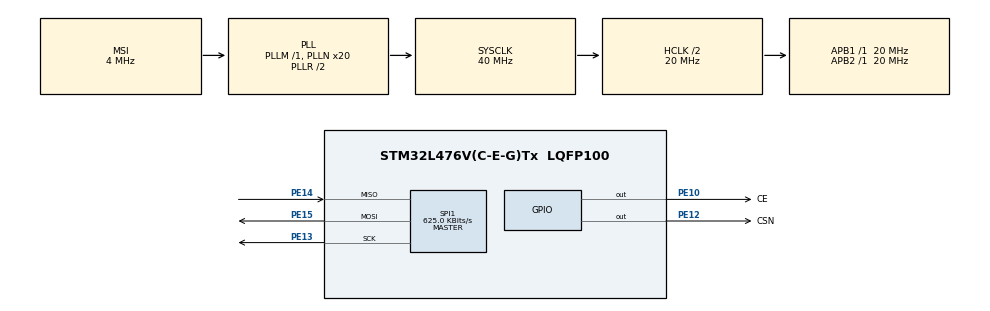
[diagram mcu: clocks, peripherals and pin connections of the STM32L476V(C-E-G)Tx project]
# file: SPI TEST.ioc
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Mcu.Family=STM32L4
Mcu.Name=STM32L476V(C-E-G)Tx
Mcu.Package=LQFP100
NVIC.PriorityGroup=NVIC_PRIORITYGROUP_4
PE10.GPIO_Label=CE
PE10.PinState=GPIO_PIN_SET
PE10.Signal=GPIO_Output
PE12.GPIO_Label=CSN
PE12.Signal=GPIO_Output
PE13.Mode=Full_Duplex_Master
PE13.Signal=SPI1_SCK
PE14.Mode=Full_Duplex_Master
PE14.Signal=SPI1_MISO
PE15.Mode=Full_Duplex_Master
PE15.Signal=SPI1_MOSI
ProjectManager.HeapSize=0x200
ProjectManager.StackSize=0x400
ProjectManager.TargetToolchain=STM32CubeIDE
RCC.ADCFreq_Value=48000000
RCC.AHBCLKDivider=RCC_SYSCLK_DIV2
RCC.AHBFreq_Value=20000000
RCC.APB1Freq_Value=20000000
RCC.APB1TimFreq_Value=20000000
RCC.APB2Freq_Value=20000000
RCC.APB2TimFreq_Value=20000000
RCC.CortexFreq_Value=20000000
RCC.HCLKFreq_Value=20000000
RCC.HSE_VALUE=8000000
RCC.HSI_VALUE=16000000
RCC.LSE_VALUE=32768
RCC.MSI_VALUE=4000000
RCC.PLLN=20
RCC.PLLSAI1N=24
RCC.PREFETCH_ENABLE=1
RCC.SYSCLKFreq_VALUE=40000000
RCC.SYSCLKSource=RCC_SYSCLKSOURCE_PLLCLK
RCC.USBFreq_Value=48000000
RCC.VCOOutputFreq_Value=80000000
SPI1.BaudRatePrescaler=SPI_BAUDRATEPRESCALER_32
SPI1.CLKPolarity=SPI_POLARITY_LOW
SPI1.CalculateBaudRate=625.0 KBits/s
SPI1.DataSize=SPI_DATASIZE_8BIT
SPI1.Direction=SPI_DIRECTION_2LINES
SPI1.Mode=SPI_MODE_MASTER
SPI1.NSSPMode=SPI_NSS_PULSE_ENABLE
SPI1.VirtualType=VM_MASTER
board=STM32L476G-DISCO

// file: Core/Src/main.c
/* USER CODE BEGIN Header */
/**
  ******************************************************************************
  * @file           : main.c
  * @brief          : Main program body
  ******************************************************************************
  * @attention
  *
  * Copyright (c) 2025 STMicroelectronics.
  * All rights reserved.
  *
  * This software is licensed under terms that can be found in the LICENSE file
  * in the root directory of this software component.
  * If no LICENSE file comes with this software, it is provided AS-IS.
  *
  ******************************************************************************
  */
/* USER CODE END Header */
#include "main.h"
#include "nrf24.h"

SPI_HandleTypeDef hspi1;

void SystemClock_Config(void);
static void MX_GPIO_Init(void);
static void MX_SPI1_Init(void);
void nRF24_set_up(uint8_t width, uint8_t channel, uint8_t data_rate, uint8_t power_level, uint8_t CRC_mode, uint8_t delay, uint8_t attempts, uint8_t rx_pipe, uint8_t *addr, uint8_t AA_state, uint8_t payload_size);
void nRF24_start_sending(uint8_t *data, uint8_t length);

int main(void)
{

  /* MCU Configuration--------------------------------------------------------*/

  /* Reset of all peripherals, Initializes the Flash interface and the Systick. */
  HAL_Init();

  /* USER CODE BEGIN Init */
 // uint8_t send_spi_reg_addr = {0x8f}; // 10 001111
 // uint8_t rec_spi_id_data= {0x00};
  /* USER CODE END Init */

  /* Configure the system clock */
  SystemClock_Config();

  /* Initialize all configured peripherals */
  MX_GPIO_Init();
  MX_SPI1_Init();
  uint8_t addr[5] = {'D', 'R', 'O', 'N', 'E'};
  nRF24_set_up(5, 78, nRF24_DR_2Mbps, nRF24_TXPWR_12dBm, nRF24_CRC_2byte, nRF24_ARD_250us, 5 , nRF24_PIPE0, addr,nRF24_AA_ON  , 16);

  /* USER CODE BEGIN 2 */
  HAL_GPIO_WritePin(GPIOD, GPIO_PIN_7, GPIO_PIN_RESET);
  //HAL_Delay(1);
  //HAL_SPI_Transmit(&hspi2, &send_spi_reg_addr, 1, 200);
  //HAL_SPI_Receive(&hspi2, &rec_spi_id_data, 1, 200);
  //HAL_GPIO_WritePin(GPIOD, GPIO_PIN_7, GPIO_PIN_SET);

  uint8_t send_SPI_data[12] =  {
		    0x00, // CONFIG
		    0x01, // EN_AA
		    0x02, // EN_RXADDR
		    0x03, // SETUP_AW
		    0x04, // SETUP_RETR
		    0x05, // RF_CH
		    0x06, // RF_SETUP
		    0x07, // STATUS
		    0x08, // OBSERVE_TX
		    0x09, // RPD
		    0x0A, // RX_ADDR_P0 (first byte)
		    0x10, // TX_ADDR (first byte)
			};
  uint8_t received_SPI_data[12]= {0x00,0x00,0x00,0x00,0x00,0x00,0x00,0x00,0x00,0x00,0x00,0x00};
//  uint8_t nrf24_read= {0x00};
  //nRF24_CSN_L();
 // HAL_Delay(1);
 // HAL_SPI_Transmit(&hspi1,send_SPI_data, 1, 200);
 // HAL_SPI_Receive(&hspi1,received_SPI_data, 1, 200);
  //nRF24_CSN_H();
  uint8_t test_data[]= "hi this is drone";
  nRF24_start_sending(test_data, 15);

    for(int x=0; x<12;x++){
        uint8_t tx_buf[2] = { send_SPI_data[x], 0xFF };  // Command and dummy byte
        uint8_t rx_buf[2] = { 0 };
        nRF24_CSN_L();
        HAL_Delay(1);
        HAL_SPI_TransmitReceive(&hspi1, tx_buf, rx_buf, 2, 200);
    	nRF24_CSN_H();
    	received_SPI_data[x] = rx_buf[1];
    }

  /* USER CODE END 2 */

  /* Infinite loop */
  while (1)
  {
	  nRF24_start_sending(test_data, 15);
	    for(int x=0; x<12;x++){
	        uint8_t tx_buf[2] = { send_SPI_data[x], 0xFF };  // Command and dummy byte
	        uint8_t rx_buf[2] = { 0 };
	        nRF24_CSN_L();
	        HAL_Delay(1);
	        HAL_SPI_TransmitReceive(&hspi1, tx_buf, rx_buf, 2, 200);
	    	nRF24_CSN_H();
	    	received_SPI_data[x] = rx_buf[1];
	    }

  }
}

void SystemClock_Config(void)
{
  RCC_OscInitTypeDef RCC_OscInitStruct = {0};
  RCC_ClkInitTypeDef RCC_ClkInitStruct = {0};

  /** Configure the main internal regulator output voltage
  */
  if (HAL_PWREx_ControlVoltageScaling(PWR_REGULATOR_VOLTAGE_SCALE1) != HAL_OK)
  {
    Error_Handler();
  }

  /** Initializes the RCC Oscillators according to the specified parameters
  * in the RCC_OscInitTypeDef structure.
  */
  RCC_OscInitStruct.OscillatorType = RCC_OSCILLATORTYPE_MSI;
  RCC_OscInitStruct.MSIState = RCC_MSI_ON;
  RCC_OscInitStruct.MSICalibrationValue = 0;
  RCC_OscInitStruct.MSIClockRange = RCC_MSIRANGE_6;
  RCC_OscInitStruct.PLL.PLLState = RCC_PLL_ON;
  RCC_OscInitStruct.PLL.PLLSource = RCC_PLLSOURCE_MSI;
  RCC_OscInitStruct.PLL.PLLM = 1;
  RCC_OscInitStruct.PLL.PLLN = 20;
  RCC_OscInitStruct.PLL.PLLP = RCC_PLLP_DIV7;
  RCC_OscInitStruct.PLL.PLLQ = RCC_PLLQ_DIV2;
  RCC_OscInitStruct.PLL.PLLR = RCC_PLLR_DIV2;
  if (HAL_RCC_OscConfig(&RCC_OscInitStruct) != HAL_OK)
  {
    Error_Handler();
  }

  /** Initializes the CPU, AHB and APB buses clocks
  */
  RCC_ClkInitStruct.ClockType = RCC_CLOCKTYPE_HCLK|RCC_CLOCKTYPE_SYSCLK
                              |RCC_CLOCKTYPE_PCLK1|RCC_CLOCKTYPE_PCLK2;
  RCC_ClkInitStruct.SYSCLKSource = RCC_SYSCLKSOURCE_PLLCLK;
  RCC_ClkInitStruct.AHBCLKDivider = RCC_SYSCLK_DIV2;
  RCC_ClkInitStruct.APB1CLKDivider = RCC_HCLK_DIV1;
  RCC_ClkInitStruct.APB2CLKDivider = RCC_HCLK_DIV1;

  if (HAL_RCC_ClockConfig(&RCC_ClkInitStruct, FLASH_LATENCY_1) != HAL_OK)
  {
    Error_Handler();
  }
}

static void MX_SPI1_Init(void)
{

  /* SPI1 parameter configuration*/
  hspi1.Instance = SPI1;
  hspi1.Init.Mode = SPI_MODE_MASTER;
  hspi1.Init.Direction = SPI_DIRECTION_2LINES;
  hspi1.Init.DataSize = SPI_DATASIZE_8BIT;
  hspi1.Init.CLKPolarity = SPI_POLARITY_LOW;
  hspi1.Init.CLKPhase = SPI_PHASE_1EDGE;
  hspi1.Init.NSS = SPI_NSS_SOFT;
  hspi1.Init.BaudRatePrescaler = SPI_BAUDRATEPRESCALER_32;
  hspi1.Init.FirstBit = SPI_FIRSTBIT_MSB;
  hspi1.Init.TIMode = SPI_TIMODE_DISABLE;
  hspi1.Init.CRCCalculation = SPI_CRCCALCULATION_DISABLE;
  hspi1.Init.CRCPolynomial = 7;
  hspi1.Init.CRCLength = SPI_CRC_LENGTH_DATASIZE;
  hspi1.Init.NSSPMode = SPI_NSS_PULSE_ENABLE;
  if (HAL_SPI_Init(&hspi1) != HAL_OK)
  {
    Error_Handler();
  }

}

static void MX_GPIO_Init(void)
{
  GPIO_InitTypeDef GPIO_InitStruct = {0};

  /* GPIO Ports Clock Enable */
  __HAL_RCC_GPIOE_CLK_ENABLE();

  /*Configure GPIO pin Output Level */
  HAL_GPIO_WritePin(GPIOE, CE_Pin|CSN_Pin, GPIO_PIN_RESET);

  /*Configure GPIO pins : CE_Pin CSN_Pin */
  GPIO_InitStruct.Pin = CE_Pin|CSN_Pin;
  GPIO_InitStruct.Mode = GPIO_MODE_OUTPUT_PP;
  GPIO_InitStruct.Pull = GPIO_NOPULL;
  GPIO_InitStruct.Speed = GPIO_SPEED_FREQ_LOW;
  HAL_GPIO_Init(GPIOE, &GPIO_InitStruct);

}

/* USER CODE BEGIN 4 */
void nRF24_set_up(uint8_t width, uint8_t channel, uint8_t data_rate, uint8_t power_level, uint8_t CRC_mode, uint8_t delay, uint8_t attempts, uint8_t rx_pipe, uint8_t *addr, uint8_t AA_state, uint8_t payload_size)
{
    // Set the address width (3, 4, or 5 bytes)
    nRF24_SetAddrWidth(width); // Recommended: 5-byte address width

    // Set the RF channel for communication (channel 0-125)
    nRF24_SetRFChannel(channel); // Set the channel (0-125)

    // Set the data rate (250kbps, 1Mbps, or 2Mbps)
    nRF24_SetDataRate(data_rate); // Set the data rate

    // Set the TX power level (available options depend on module, usually -18dBm to +3dBm)
    nRF24_SetTXPower(power_level); // Set the transmission power level

    // Set CRC mode (disable, 1-byte CRC, or 2-byte CRC)
    nRF24_SetCRCScheme(CRC_mode); // Set CRC scheme (disabled, CRC-1, or CRC-2)

    // Set auto-retransmit delay (ARD) and attempts (ARC)
    nRF24_SetAutoRetr(delay, attempts); // Configure retransmit delay and number of attempts (0-15)

    // Set the TX pipe address (used for transmission)
    nRF24_SetTXAddr(addr); // Set the TX pipe address

    // Set the RX pipe address (must match the TX address for auto acknowledgment)
    nRF24_SetAddr(rx_pipe, addr); // Set the RX pipe address (should match TX address)

    // Enable AA (Auto Acknowledgment) for the specified RX pipe
    nRF24_EnableAA(rx_pipe); // Enable AA on the given RX pipe (0-5)

    // Set the RX pipe with AA state (enabled/disabled) and payload size (1-32 bytes)
    nRF24_SetRXPipe(rx_pipe, AA_state, payload_size); // Configure RX pipe with AA and payload size

    nRF24_DisableAA(nRF24_PIPE1);

    nRF24_DisableAA(nRF24_PIPE2);

  	nRF24_DisableAA(nRF24_PIPE3);

    nRF24_DisableAA(nRF24_PIPE4);

    nRF24_DisableAA(nRF24_PIPE5);

    nRF24_SetPowerMode(nRF24_PWR_UP); // powering up module so that it can stay in standby-1 mode
    }

void nRF24_Switch_to_RX_mode(){      // set nrf24 into rx mode
	 nRF24_SetOperationalMode(nRF24_MODE_RX);
	 nRF24_CE_H();
};

typedef enum {
  NO_DATA,
  RX_RECEIVED
} nRF24_RX_Status;

nRF24_RX_Status RECEIVED_DATA(uint8_t *buffer, uint8_t *length) {   // this function checks for latest rx data and loads it into buffer and sets status.
    if (nRF24_GetStatus_RXFIFO() != nRF24_STATUS_RXFIFO_EMPTY) {
        nRF24_ReadPayload(buffer, length);
        nRF24_ClearIRQFlags();
        return RX_RECEIVED;
    }
    return NO_DATA;
}

void nRF24_Switch_to_TX_mode(){
	 nRF24_SetOperationalMode(nRF24_MODE_TX);
	 nRF24_CE_H();
	 HAL_Delay(1);// TX_15us_delay() // Needs to be at least 10 μs
};

void nRF24_start_sending(uint8_t *data, uint8_t length) {
        nRF24_FlushTX();
        nRF24_ClearIRQFlags();
        nRF24_WritePayload(data, length);
        nRF24_Switch_to_TX_mode();
    }

/* USER CODE END 4 */

void Error_Handler(void)
{
  __disable_irq();
  while (1)
  {
  }
}
